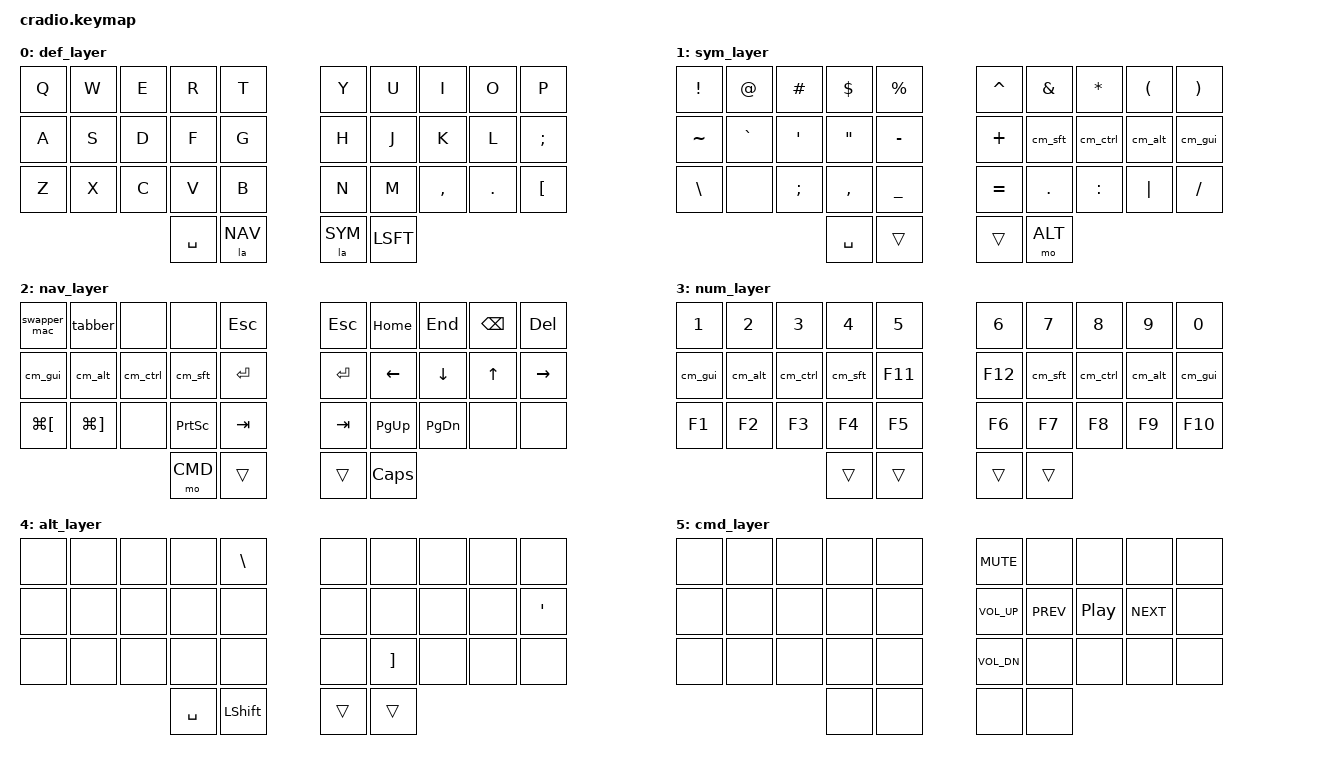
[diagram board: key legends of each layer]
#include <behaviors.dtsi>
#include <dt-bindings/zmk/outputs.h>
#include <dt-bindings/zmk/keys.h>
#include <dt-bindings/zmk/bt.h>

#include <dt-bindings/zmk/ext_power.h>

#define _ &kp
#define ___ &none
#define ______ &trans

#define DEF 0
#define SYM 1
#define NAV 2
#define NUM 3
#define ALT 4
#define CMD 5

#define NSPC LG(RBKT)
#define PSPC LG(LBKT)

// custom implementation of modified callum-mods,
// which can be released on second keypress
// and also work with swapper and/or tabber

#define PARAM_1 0
#define PARAM_2 0

#define MACRO(NAME, COMPATIBLE, BINDING_CELLS, BINDINGS) \
    NAME: NAME { \
        compatible = COMPATIBLE; \
        #binding-cells = <BINDING_CELLS>; \
        wait-ms = <0>; \
        tap-ms = <0>; \
        bindings = \
            <BINDINGS>; \
    };

#define MACRO_NO_PARAM(NAME, BINDINGS)  MACRO(NAME, "zmk,behavior-macro"          , 0, BINDINGS)
#define MACRO_ONE_PARAM(NAME, BINDINGS) MACRO(NAME, "zmk,behavior-macro-one-param", 1, BINDINGS)
#define MACRO_TWO_PARAM(NAME, BINDINGS) MACRO(NAME, "zmk,behavior-macro-two-param", 2, BINDINGS)

#define MAX_TIMER __UINT32_MAX__ // around 50 days

#define STICKY_FOREVER(NAME, BIND) \
    NAME: NAME { \
        compatible = "zmk,behavior-sticky-key"; \
        #binding-cells = <1>; \
        bindings = <BIND>; \
        release-after-ms = <MAX_TIMER>; \
        ignore-modifiers; \
    };

#define MODMORPH(NAME, NORMAL, MORPHED, MODS, KEEP_MODS) \
    NAME: NAME { \
        compatible = "zmk,behavior-mod-morph"; \
        #binding-cells = <0>; \
        bindings = <NORMAL>, <MORPHED>; \
        mods = <(MODS)>; \
        keep-mods = <(KEEP_MODS)>; \
    };

&sk {
        release-after-ms = <60000>;
};

/ {
    behaviors {
        MACRO_ONE_PARAM(
            m_release_key_twice,
            &macro_release
                &macro_param_1to1 &kp PARAM_1
                &macro_param_1to1 &kp PARAM_1
        )


        MACRO_ONE_PARAM(
            m_press_key_twice,
            &macro_press
                &macro_param_1to1 &kp PARAM_1
                &macro_param_1to1 &kp PARAM_1
            &macro_pause_for_release
            &macro_tap
                &m_release_key_twice PARAM_1
        )

        STICKY_FOREVER(sticky_forever, &m_press_key_twice)

        MODMORPH(
            cm_gui,
            &sticky_forever LGUI,
            &m_release_key_twice LGUI,
            MOD_LGUI,
            MOD_LGUI
        )

        MODMORPH(
            cm_alt,
            &sticky_forever LALT,
            &m_release_key_twice LALT,
            MOD_LALT,
            MOD_LALT
        )

        MODMORPH(
            cm_ctrl,
            &sticky_forever LCTRL,
            &m_release_key_twice LCTRL,
            MOD_LCTL,
            MOD_LCTL
        )

        MODMORPH(
            cm_sft,
            &sticky_forever LSHIFT,
            &m_release_key_twice LSHIFT,
            MOD_LSFT,
            MOD_LSFT
        )

        MACRO_TWO_PARAM(
            m_hold_mod_press_key,
            &macro_press
                &macro_param_1to1 &kp PARAM_1
            &macro_tap
                &macro_param_2to1 &kp PARAM_2
        )

        MODMORPH(
            tabber,
            &m_hold_mod_press_key LCTRL TAB,
            &kp TAB,
            MOD_LCTL,
            MOD_LCTL
        )

        MODMORPH(
            swapper_win,
            &m_hold_mod_press_key LALT TAB,
            &kp TAB,
            MOD_LALT,
            MOD_LALT
        )

        MODMORPH(
            swapper_mac,
            &m_hold_mod_press_key LGUI TAB,
            &kp TAB,
            MOD_LGUI,
            MOD_LGUI
        )

        MACRO_ONE_PARAM(
            la,
            &macro_tap
                &kp 0 // do nothing, fire all sticky keys
            &macro_press
                &macro_param_1to1 &mo PARAM_1
            &macro_pause_for_release
            &macro_release
                &macro_param_1to1 &mo PARAM_1
                &kp LSHFT
                &kp LCTRL
                &kp LALT
                &kp LGUI
        )
    };

    conditional_layers {
        compatible = "zmk,conditional-layers";
        tri_layer {
            if-layers  = <NAV SYM>;
            then-layer = <NUM>;
        };
    };
};

/ {
    keymap {
        compatible = "zmk,keymap";

        def_layer {
            bindings = <
_ Q          _ W          _ E          _ R         _ T             _ Y          _ U          _ I          _ O          _ P
_ A          _ S          _ D          _ F         _ G             _ H          _ J          _ K          _ L          _ SEMI
_ Z          _ X          _ C          _ V         _ B             _ N          _ M          _ COMMA      _ DOT        _ LBKT
                                       _ SPACE     &la NAV         &la SYM      _ LSFT
            >;
        };

        sym_layer {
            bindings = <
_ EXCL        _ AT           _ HASH       _ DLLR      _ PERCENT       _ CARET      _ AMPS       _ STAR       _ LPAR       _ RPAR
_ TILDE       _ GRAVE        _ SQT        _ DQT       _ MINUS         _ PLUS       &cm_sft      &cm_ctrl     &cm_alt      &cm_gui
_ BSLH        ___            _ SEMI       _ COMMA     _ UNDER         _ EQUAL      _ DOT       _ COLON       _ PIPE       _ SLASH
                                          _ SPACE     ______          ______       &mo ALT
            >;
        };

        nav_layer {
            bindings = <
&swapper_mac   &tabber      ___          ___         _ ESC           _ ESC        _ HOME       _ END        _ BSPC       _ DEL
&cm_gui        &cm_alt      &cm_ctrl     &cm_sft     _ RET           _ RET        _ LEFT       _ DOWN       _ UP         _ RIGHT
_ PSPC         _ NSPC       ___          _ PSCRN     _ TAB           _ TAB        _ PG_UP      _ PG_DN      ___          ___
                                         &mo CMD     ______          ______       _ CAPS
            >;
        };

        num_layer {
            bindings = <
_ N1         _ N2         _ N3         _ N4        _ N5            _ N6         _ N7         _ N8         _ N9          _ N0
&cm_gui      &cm_alt      &cm_ctrl     &cm_sft     _ F11           _ F12        &cm_sft      &cm_ctrl     &cm_alt       &cm_gui
_ F1         _ F2         _ F3         _ F4        _ F5            _ F6         _ F7         _ F8         _ F9          _ F10
                                       ______      ______          ______       ______
            >;
        };

        alt_layer {
            bindings = <
___      ___      ___      ___     _ BSLH          ___      ___          ___      ___     ___
___      ___      ___      ___     ___             ___      ___          ___      ___     _ SQT
___      ___      ___      ___     ___             ___      _ RBKT       ___      ___     ___
                                       _ SPACE     _ LSHFT         ______       ______
            >;
        };

        cmd_layer {
            bindings = <
___ ___ ___ ___ ___     _ C_MUTE      ___          ___          ___       ___
___ ___ ___ ___ ___     _ C_VOL_UP    _ C_PREV     _ C_PP       _ C_NEXT  ___
___ ___ ___ ___ ___     _ C_VOL_DN    ___          ___          ___       ___
            ___ ___     ___           ___
            >;
        };
    };
};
